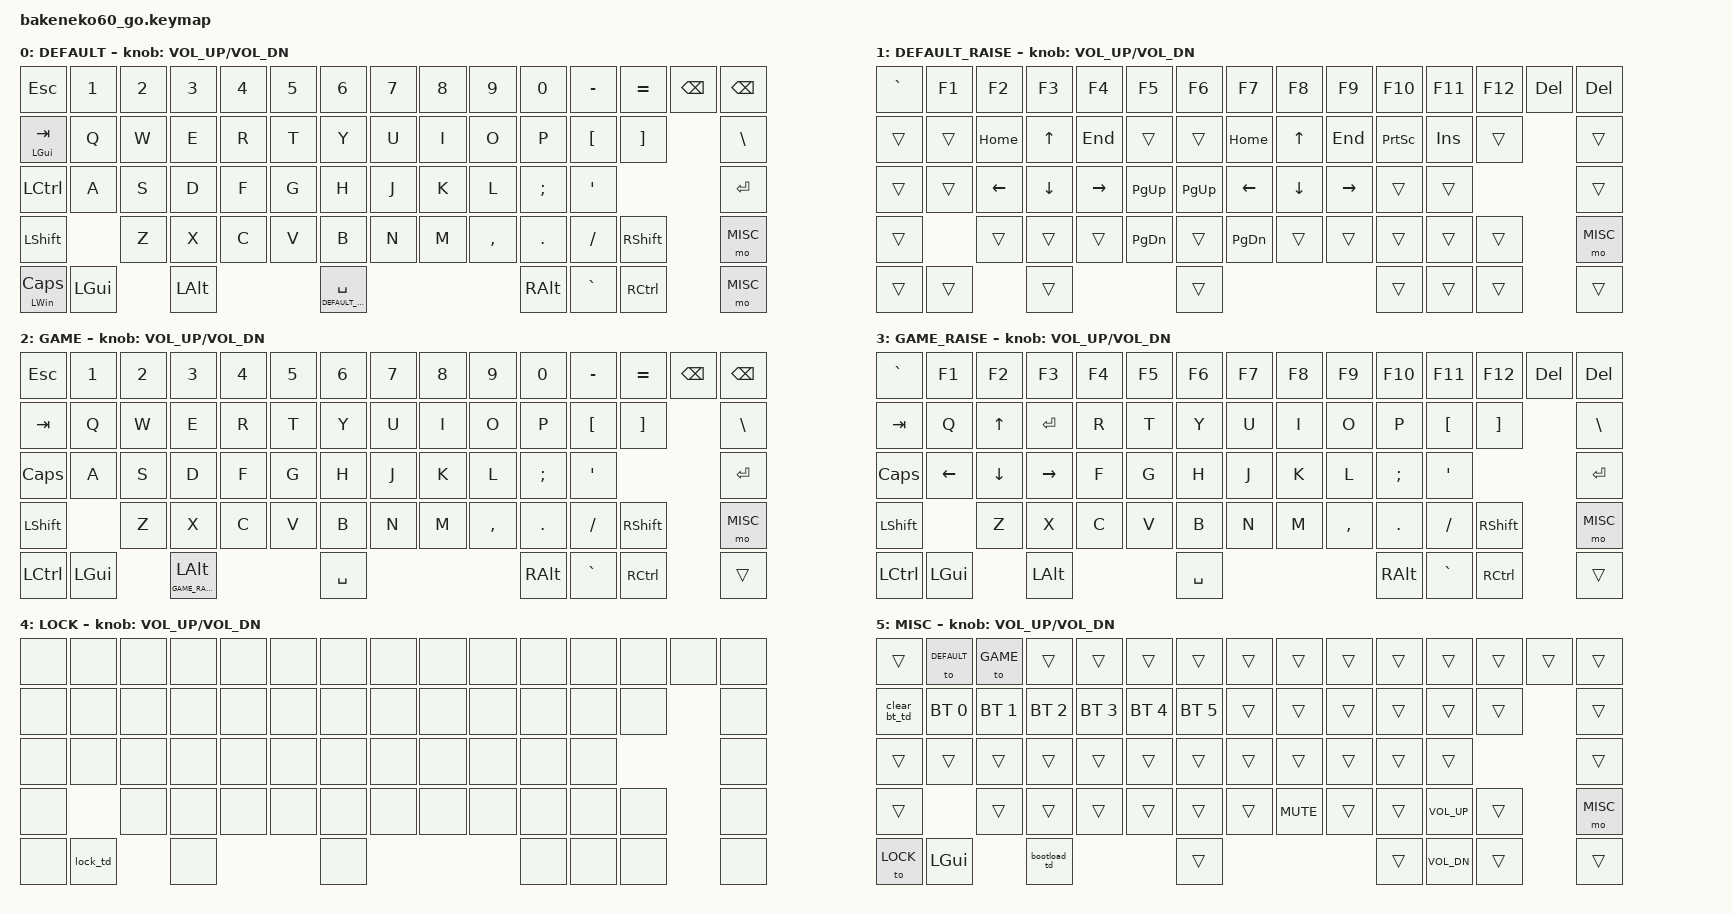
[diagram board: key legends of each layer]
#include <behaviors.dtsi>
#include <dt-bindings/zmk/bt.h>
#include <dt-bindings/zmk/keys.h>

#define DEFAULT 0
#define DEFAULT_RAISE 1
#define GAME 2
#define GAME_RAISE 3
#define LOCK 4
#define MISC 5

/ {
    behaviors {
        bootload_td: tap_dance_0 {
            compatible = "zmk,behavior-tap-dance";
            #binding-cells = <0>;
            tapping-term-ms = <200>;
            bindings = <&none>, <&bootloader>;
        };

        lock_td: tap_dance_1 {
            compatible = "zmk,behavior-tap-dance";
            #binding-cells = <0>;
            tapping-term-ms = <200>;
            bindings = <&none>, <&tog LOCK>;
        };

        clear_bt_td: tap_dance_2 {
            compatible = "zmk,behavior-tap-dance";
            #binding-cells = <0>;
            tapping-term-ms = <200>;
            bindings = <&none>, <&bt BT_CLR>;
        };
    };

    keymap {
        compatible = "zmk,keymap";

        DEFAULT {
            bindings = <
&kp ESC                &kp N1    &kp N2  &kp N3    &kp N4  &kp N5  &kp N6                   &kp N7  &kp N8  &kp N9     &kp N0    &kp MINUS  &kp EQUAL  &kp BSPC  &kp BSPC
&mt LGUI TAB           &kp Q     &kp W   &kp E     &kp R   &kp T   &kp Y                    &kp U   &kp I   &kp O      &kp P     &kp LBKT   &kp RBKT             &kp BSLH
&kp LCTRL              &kp A     &kp S   &kp D     &kp F   &kp G   &kp H                    &kp J   &kp K   &kp L      &kp SEMI  &kp SQT                         &kp RET
&kp LSHFT                        &kp Z   &kp X     &kp C   &kp V   &kp B                    &kp N   &kp M   &kp COMMA  &kp DOT   &kp FSLH   &kp RSHFT            &mo MISC
&mt LEFT_WIN CAPSLOCK  &kp LGUI          &kp LALT                  &lt DEFAULT_RAISE SPACE                             &kp RALT  &kp GRAVE  &kp RCTRL            &mo MISC
            >;

            sensor-bindings = <&inc_dec_kp C_VOL_UP C_VOL_DN>;
        };

        DEFAULT_RAISE {
            bindings = <
&kp GRAVE  &kp F1  &kp F2    &kp F3    &kp F4     &kp F5     &kp F6     &kp F7     &kp F8    &kp F9     &kp F10    &kp F11  &kp F12  &kp DEL  &kp DEL
&trans     &trans  &kp HOME  &kp UP    &kp END    &trans     &trans     &kp HOME   &kp UP    &kp END    &kp PSCRN  &kp INS  &trans            &trans
&trans     &trans  &kp LEFT  &kp DOWN  &kp RIGHT  &kp PG_UP  &kp PG_UP  &kp LEFT   &kp DOWN  &kp RIGHT  &trans     &trans                     &trans
&trans             &trans    &trans    &trans     &kp PG_DN  &trans     &kp PG_DN  &trans    &trans     &trans     &trans   &trans            &mo MISC
&trans     &trans            &trans                          &trans                                     &trans     &trans   &trans            &trans
            >;

            sensor-bindings = <&inc_dec_kp C_VOL_UP C_VOL_DN>;
        };

        GAME {
            bindings = <
&kp ESC    &kp N1    &kp N2  &kp N3               &kp N4  &kp N5  &kp N6     &kp N7  &kp N8  &kp N9     &kp N0    &kp MINUS  &kp EQUAL  &kp BSPC  &kp BSPC
&kp TAB    &kp Q     &kp W   &kp E                &kp R   &kp T   &kp Y      &kp U   &kp I   &kp O      &kp P     &kp LBKT   &kp RBKT             &kp BSLH
&kp CAPS   &kp A     &kp S   &kp D                &kp F   &kp G   &kp H      &kp J   &kp K   &kp L      &kp SEMI  &kp SQT                         &kp RET
&kp LSHFT            &kp Z   &kp X                &kp C   &kp V   &kp B      &kp N   &kp M   &kp COMMA  &kp DOT   &kp FSLH   &kp RSHFT            &mo MISC
&kp LCTRL  &kp LGUI          &lt GAME_RAISE LALT                  &kp SPACE                             &kp RALT  &kp GRAVE  &kp RCTRL            &trans
            >;

            sensor-bindings = <&inc_dec_kp C_VOL_UP C_VOL_DN>;
        };

        GAME_RAISE {
            bindings = <
&kp GRAVE  &kp F1    &kp F2    &kp F3     &kp F4  &kp F5  &kp F6     &kp F7  &kp F8  &kp F9     &kp F10   &kp F11    &kp F12    &kp DEL  &kp DEL
&kp TAB    &kp Q     &kp UP    &kp RET    &kp R   &kp T   &kp Y      &kp U   &kp I   &kp O      &kp P     &kp LBKT   &kp RBKT            &kp BSLH
&kp CAPS   &kp LEFT  &kp DOWN  &kp RIGHT  &kp F   &kp G   &kp H      &kp J   &kp K   &kp L      &kp SEMI  &kp SQT                        &kp RET
&kp LSHFT            &kp Z     &kp X      &kp C   &kp V   &kp B      &kp N   &kp M   &kp COMMA  &kp DOT   &kp FSLH   &kp RSHFT           &mo MISC
&kp LCTRL  &kp LGUI            &kp LALT                   &kp SPACE                             &kp RALT  &kp GRAVE  &kp RCTRL           &trans
            >;

            sensor-bindings = <&inc_dec_kp C_VOL_UP C_VOL_DN>;
        };

        LOCK {
            bindings = <
&none  &none     &none  &none  &none  &none  &none  &none  &none  &none  &none  &none  &none  &none  &none
&none  &none     &none  &none  &none  &none  &none  &none  &none  &none  &none  &none  &none         &none
&none  &none     &none  &none  &none  &none  &none  &none  &none  &none  &none  &none                &none
&none            &none  &none  &none  &none  &none  &none  &none  &none  &none  &none  &none         &none
&none  &lock_td         &none                &none                       &none  &none  &none         &none
            >;

            sensor-bindings = <&inc_dec_kp C_VOL_UP C_VOL_DN>;
        };

        MISC {
            bindings = <
&trans        &to DEFAULT   &to GAME      &trans        &trans        &trans        &trans        &trans  &trans      &trans  &trans  &trans        &trans  &trans  &trans
&clear_bt_td  &bt BT_SEL 0  &bt BT_SEL 1  &bt BT_SEL 2  &bt BT_SEL 3  &bt BT_SEL 4  &bt BT_SEL 5  &trans  &trans      &trans  &trans  &trans        &trans          &trans
&trans        &trans        &trans        &trans        &trans        &trans        &trans        &trans  &trans      &trans  &trans  &trans                        &trans
&trans                      &trans        &trans        &trans        &trans        &trans        &trans  &kp C_MUTE  &trans  &trans  &kp C_VOL_UP  &trans          &mo MISC
&to LOCK      &kp LGUI                    &bootload_td                              &trans                                    &trans  &kp C_VOL_DN  &trans          &trans
            >;

            sensor-bindings = <&inc_dec_kp C_VOL_UP C_VOL_DN>;
        };
    }; // keymap { ...
    combos {
        compatible = "zmk,combos";

        combo_bt {
            timeout-ms = <50>;
            key-positions = <61 62>;
            bindings = <&mo 2>;
        };
    };
};
